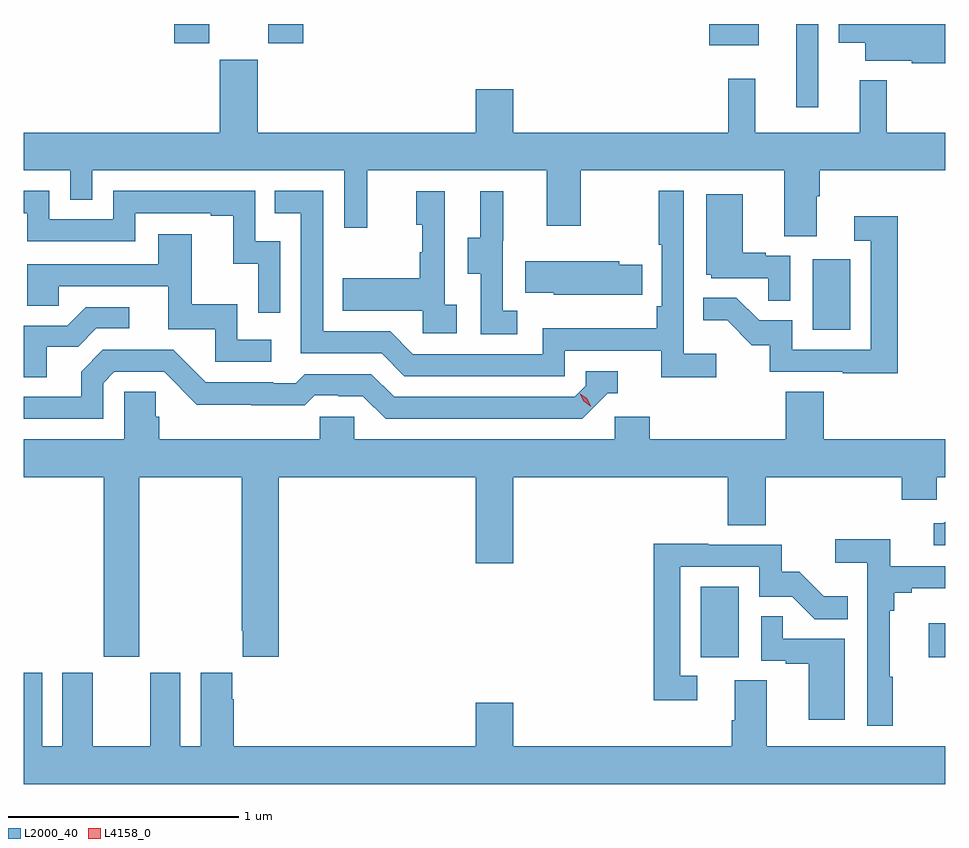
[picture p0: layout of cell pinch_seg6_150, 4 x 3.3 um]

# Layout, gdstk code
import gdstk
lib = gdstk.Library(unit=1e-6, precision=1e-09)
def R(c, l, rs):  # rectangles x0, y0, x1, y1
    for r in rs: c.add(gdstk.rectangle(r[:2], r[2:], *l))
def P(c, l, *ps):  # polygons
    for p in ps: c.add(gdstk.Polygon(p, *l))
L2000_40 = (2000, 40)
L4158_0 = (4158, 0)

pinch_seg6_150 = lib.new_cell('pinch_seg6_150')
R(pinch_seg6_150, L2000_40, [(969.182,921.246,969.346,921.553), (970.173,921.247,970.243,921.394), (969.668,922.668,969.832,922.975), (969.596,923.634,969.693,923.996), (969.218,923.903,969.433,923.996), (966.896,923.913,967.048,923.996), (967.304,923.913,967.457,923.996)])
P(pinch_seg6_150, L2000_40, [(970.243,923.996),(969.782,923.996),(969.782,923.915),(969.896,923.915),(969.896,923.837),(970.098,923.837),(970.098,923.825),(970.243,923.825)],
  [(969.685,923.248),(969.698,923.248),(969.698,923.36),(970.243,923.36),(970.243,923.524),(969.989,923.524),(969.989,923.752),(969.872,923.752),(969.872,923.524),(969.419,923.524),(969.419,923.758),(969.301,923.758),(969.301,923.524),(968.368,923.524),(968.368,923.713),(968.204,923.713),(968.204,923.524),(967.258,923.524),(967.258,923.841),(967.094,923.841),(967.094,923.524),(966.243,923.524),(966.243,923.36),(966.444,923.36),(966.444,923.233),(966.54,923.233),(966.54,923.36),(967.635,923.36),(967.635,923.112),(967.733,923.112),(967.733,923.36),(968.513,923.36),(968.513,923.121),(968.661,923.121),(968.661,923.36),(969.545,923.36),(969.545,923.074),(969.685,923.074)],
  [(969.25,922.564),(969.108,922.564),(969.108,923.272),(969,923.272),(969,923.038),(969.012,923.038),(969.012,922.771),(968.992,922.771),(968.992,922.675),(968.496,922.675),(968.496,922.563),(967.932,922.563),(967.833,922.662),(967.542,922.662),(967.542,923.271),(967.333,923.271),(967.333,923.175),(967.446,923.175),(967.446,922.566),(967.796,922.566),(967.895,922.467),(968.592,922.467),(968.592,922.578),(969.011,922.578),(969.011,922.462),(969.25,922.462)],
  [(967.356,923.052),(967.248,923.052),(967.248,923.271),(966.63,923.271),(966.63,923.148),(966.354,923.148),(966.354,923.271),(966.243,923.271),(966.243,923.175),(966.258,923.175),(966.258,923.052),(966.726,923.052),(966.726,923.175),(967.055,923.175),(967.055,923.163),(967.151,923.163),(967.151,922.955),(967.26,922.955),(967.26,922.743),(967.356,922.743)],
  [(968.122,922.778),(968.07,922.778),(968.07,923.269),(967.946,923.269),(967.946,923.124),(967.972,923.124),(967.972,923.006),(967.962,923.006),(967.962,922.891),(967.627,922.891),(967.627,922.751),(967.974,922.751),(967.974,922.653),(968.122,922.653)],
  [(968.386,922.751),(968.322,922.751),(968.322,923.055),(968.324,923.055),(968.324,923.269),(968.225,923.269),(968.225,923.067),(968.171,923.067),(968.171,922.912),(968.226,922.912),(968.226,922.648),(968.386,922.648)],
  [(969.57,922.989),(969.464,922.989),(969.464,923.002),(969.364,923.002),(969.364,923.257),(969.206,923.257),(969.206,922.908),(969.228,922.908),(969.228,922.893),(969.475,922.893),(969.475,922.795),(969.57,922.795)],
  [(970.037,923.161),(969.849,923.161),(969.849,923.055),(969.921,923.055),(969.921,922.581),(969.579,922.581),(969.579,922.71),(969.435,922.71),(969.337,922.808),(969.193,922.808),(969.193,922.709),(969.297,922.709),(969.404,922.602),(969.481,922.602),(969.481,922.485),(969.799,922.485),(969.799,922.48),(970.037,922.48)],
  [(967.318,922.626),(967.17,922.626),(967.17,922.78),(966.971,922.78),(966.971,923.083),(966.827,923.083),(966.827,922.953),(966.258,922.953),(966.258,922.773),(966.395,922.773),(966.395,922.857),(966.869,922.857),(966.869,922.671),(967.074,922.671),(967.074,922.53),(967.318,922.53)],
  [(968.927,922.95),(968.829,922.95),(968.829,922.966),(968.419,922.966),(968.419,922.829),(968.544,922.829),(968.544,922.82),(968.927,922.82)],
  [(966.343,922.594),(966.478,922.594),(966.558,922.674),(966.7,922.674),(966.7,922.767),(966.512,922.767),(966.431,922.686),(966.243,922.686),(966.243,922.462),(966.343,922.462)],
  [(966.588,922.437),(966.636,922.485),(966.852,922.485),(966.994,922.343),(967.23,922.343),(967.23,922.341),(967.463,922.341),(967.505,922.383),(967.608,922.383),(967.608,922.38),(967.715,922.38),(967.814,922.281),(968.667,922.281),(968.778,922.392),(968.821,922.392),(968.821,922.488),(968.682,922.488),(968.682,922.425),(968.634,922.377),(967.851,922.377),(967.752,922.476),(967.463,922.476),(967.424,922.437),(967.325,922.437),(967.325,922.44),(967.032,922.44),(966.891,922.581),(966.585,922.581),(966.491,922.487),(966.491,922.377),(966.243,922.377),(966.243,922.281),(966.588,922.281)],
  [(966.744,922.028),(967.189,922.028),(967.189,921.361),(967.193,921.361),(967.193,921.249),(967.349,921.249),(967.349,922.028),(968.204,922.028),(968.204,921.654),(968.368,921.654),(968.368,922.028),(969.299,922.028),(969.299,921.82),(969.464,921.82),(969.464,922.028),(970.055,922.028),(970.055,921.93),(970.206,921.93),(970.206,922.028),(970.243,922.028),(970.243,922.192),(969.716,922.192),(969.716,922.4),(969.551,922.4),(969.551,922.192),(968.96,922.192),(968.96,922.29),(968.808,922.29),(968.808,922.192),(967.677,922.192),(967.677,922.29),(967.527,922.29),(967.527,922.192),(966.83,922.192),(966.83,922.29),(966.815,922.29),(966.815,922.4),(966.678,922.4),(966.678,922.192),(966.243,922.192),(966.243,922.028),(966.589,922.028),(966.589,921.249),(966.744,921.249)],
  [(970.243,921.835),(970.236,921.828),(970.193,921.828),(970.193,921.732),(970.243,921.732)],
  [(970.015,921.161),(970.003,921.161),(970.003,921.449),(970.022,921.449),(970.022,921.526),(970.099,921.526),(970.099,921.545),(970.243,921.545),(970.243,921.642),(970.004,921.642),(970.004,921.758),(969.765,921.758),(969.765,921.656),(969.906,921.656),(969.906,920.949),(970.015,920.949)],
  [(969.166,921.165),(969.093,921.165),(969.093,921.639),(969.435,921.639),(969.435,921.51),(969.579,921.51),(969.677,921.412),(969.821,921.412),(969.821,921.511),(969.717,921.511),(969.61,921.618),(969.534,921.618),(969.534,921.735),(969.215,921.735),(969.215,921.74),(968.977,921.74),(968.977,921.06),(969.166,921.06)],
  [(969.808,921.327),(969.539,921.327),(969.539,921.425),(969.444,921.425),(969.444,921.231),(969.551,921.231),(969.551,921.219),(969.65,921.219),(969.65,920.976),(969.808,920.976)],
  [(970.243,920.86),(969.469,920.86),(969.469,921.146),(969.329,921.146),(969.329,920.972),(969.317,920.972),(969.317,920.86),(968.368,920.86),(968.368,921.049),(968.204,921.049),(968.204,920.86),(967.154,920.86),(967.154,921.065),(967.147,921.065),(967.147,921.178),(967.01,921.178),(967.01,920.86),(966.922,920.86),(966.922,921.178),(966.791,921.178),(966.791,920.86),(966.541,920.86),(966.541,921.178),(966.41,921.178),(966.41,920.86),(966.322,920.86),(966.322,921.178),(966.243,921.178),(966.243,920.696),(970.243,920.696)])
P(pinch_seg6_150, L4158_0, [(968.703,922.337),(968.673,922.358),(968.657,922.391),(968.657,922.391),(968.658,922.391),(968.688,922.371),(968.704,922.338),(968.704,922.337)])

lib.write_gds('pinch_seg6_150.gds')
